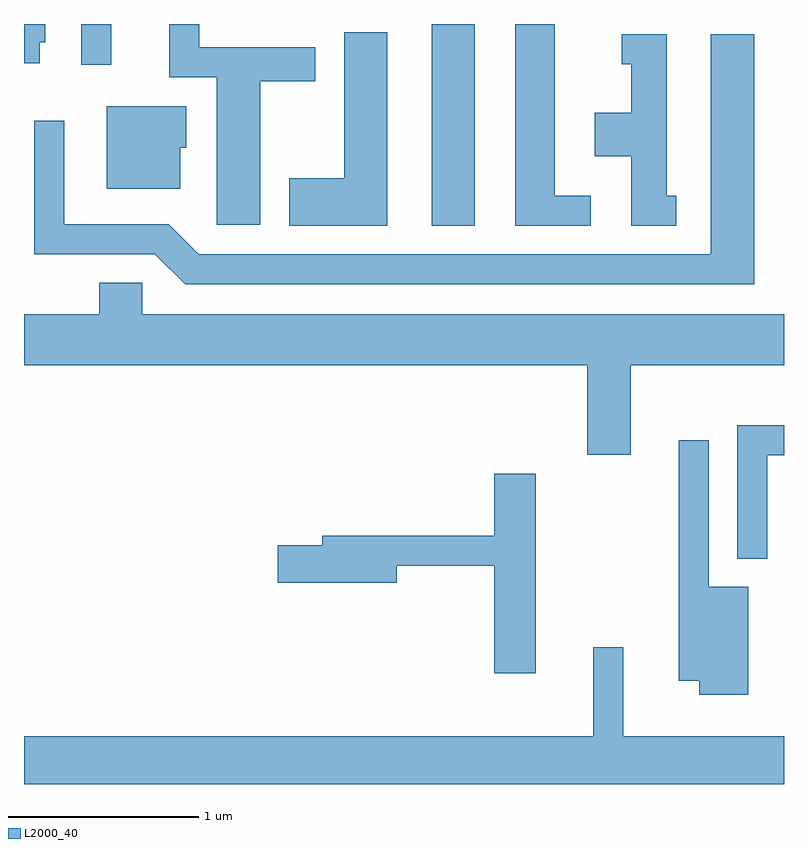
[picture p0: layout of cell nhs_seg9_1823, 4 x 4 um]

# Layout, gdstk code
import gdstk
lib = gdstk.Library(unit=1e-6, precision=1e-09)
def R(c, l, rs):  # rectangles x0, y0, x1, y1
    for r in rs: c.add(gdstk.rectangle(r[:2], r[2:], *l))
def P(c, l, *ps):  # polygons
    for p in ps: c.add(gdstk.Polygon(p, *l))
L2000_40 = (2000, 40)

nhs_seg9_1823 = lib.new_cell('nhs_seg9_1823')
R(nhs_seg9_1823, L2000_40, [(239.756,2061.371,239.984,2062.432), (237.911,2062.218,238.069,2062.432)])
P(nhs_seg9_1823, L2000_40, [(238.854,2062.131),(239.144,2062.131),(239.144,2062.309),(238.534,2062.309),(238.534,2062.432),(238.376,2062.432),(238.376,2062.151),(238.626,2062.151),(238.626,2061.376),(238.854,2061.376)],
  [(237.694,2062.336),(237.724,2062.336),(237.724,2062.432),(237.611,2062.432),(237.611,2062.226),(237.694,2062.226)],
  [(240.593,2061.529),(240.404,2061.529),(240.404,2062.432),(240.196,2062.432),(240.196,2061.371),(240.593,2061.371)],
  [(239.524,2062.389),(239.296,2062.389),(239.296,2061.619),(239.006,2061.619),(239.006,2061.371),(239.524,2061.371)],
  [(241.454,2062.379),(241.226,2062.379),(241.226,2061.219),(238.532,2061.219),(238.372,2061.379),(237.824,2061.379),(237.824,2061.923),(237.666,2061.923),(237.666,2061.221),(238.299,2061.221),(238.459,2061.061),(241.454,2061.061)],
  [(241.043,2061.529),(240.994,2061.529),(240.994,2062.379),(240.758,2062.379),(240.758,2062.221),(240.806,2062.221),(240.806,2061.964),(240.616,2061.964),(240.616,2061.736),(240.806,2061.736),(240.806,2061.371),(241.043,2061.371)],
  [(238.434,2061.781),(238.464,2061.781),(238.464,2061.999),(238.046,2061.999),(238.046,2061.566),(238.434,2061.566)],
  [(240.804,2060.636),(241.611,2060.636),(241.611,2060.904),(238.234,2060.904),(238.234,2061.069),(238.006,2061.069),(238.006,2060.904),(237.611,2060.904),(237.611,2060.636),(240.576,2060.636),(240.576,2060.166),(240.804,2060.166)],
  [(241.524,2060.161),(241.611,2060.161),(241.611,2060.319),(241.366,2060.319),(241.366,2059.617),(241.524,2059.617)],
  [(241.424,2059.469),(241.214,2059.469),(241.214,2060.242),(241.056,2060.242),(241.056,2058.976),(241.166,2058.976),(241.166,2058.901),(241.424,2058.901)],
  [(240.304,2060.064),(240.086,2060.064),(240.086,2059.739),(239.181,2059.739),(239.181,2059.689),(238.946,2059.689),(238.946,2059.491),(239.574,2059.491),(239.574,2059.581),(240.086,2059.581),(240.086,2059.016),(240.304,2059.016)],
  [(241.611,2058.684),(240.764,2058.684),(240.764,2059.153),(240.606,2059.153),(240.606,2058.684),(237.611,2058.684),(237.611,2058.432),(241.611,2058.432)])

lib.write_gds('nhs_seg9_1823.gds')
